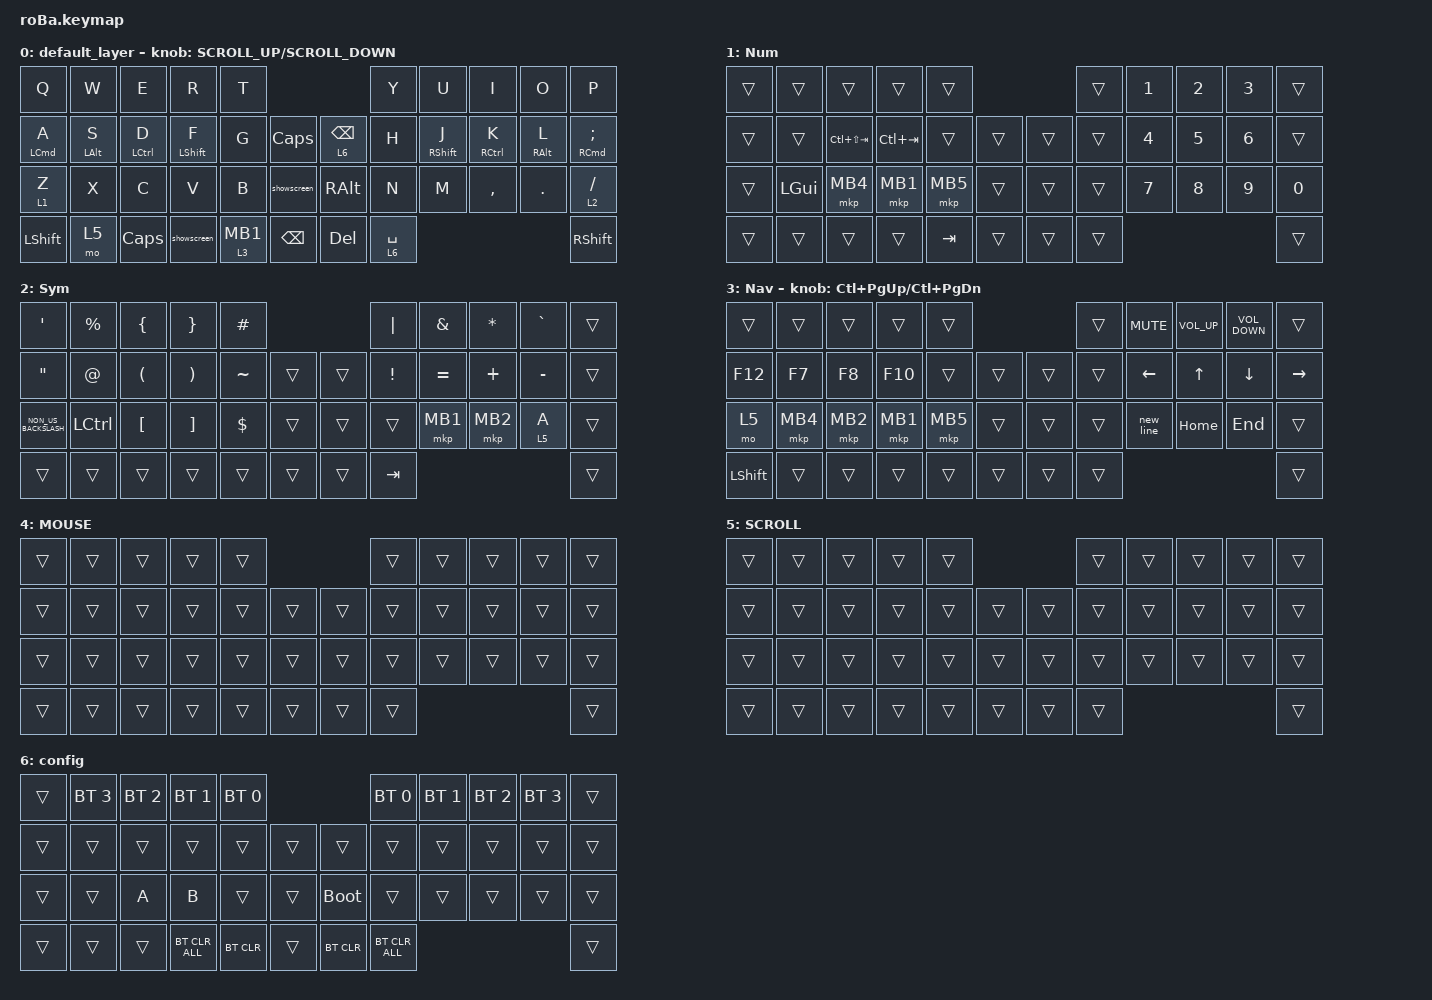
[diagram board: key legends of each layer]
#include <behaviors.dtsi>
#include <dt-bindings/zmk/bt.h>
#include <dt-bindings/zmk/keys.h>
#include <dt-bindings/zmk/pointing.h>

#define KEYS_L  0  1  2  3  4 10 11 12 13 14 15 22 23 24 25 26 27
#define KEYS_R  5  6  7  8  9 16 17 18 19 20 21 28 29 30 31 32 33
#define THUMBS 34 35 36 37 38 39 40 41

&mt {
    quick-tap-ms = <100>;
    global-quick-tap;
    flavor = "tap-preferred";
    tapping-term-ms = <170>;
};

&trackball {
    automouse-layer = <4>;
    scroll-layers = <5>;

    // arrows {
    //     layers = <3>;
    //     bindings =
    //         <&kp RIGHT_ARROW>,
    //         <&kp LEFT_ARROW>,
    //         <&kp UP_ARROW>,
    //         <&kp DOWN_ARROW>;
    //     tick = <10>;
    //     wait-ms = <5>;
    //     tap-ms = <5>;
    // };
};

/ {
    combos {
        compatible = "zmk,combos";

        middle_enter {
            bindings = <&kp ENTER>;
            key-positions = <18 19>;
        };

        muhennkann {
            bindings = <&kp TAB>;
            key-positions = <11 19 20>;
        };

        combo_esc {
            timeout-ms = <50>;
            key-positions = <6 7>;
            bindings = <&kp ESC>;
        };

        right_enter {
            timeout-ms = <100>;
            key-positions = <30 31>;
            bindings = <&kp ENTER>;
        };

        show_windows {
            bindings = <&kp LC(UP_ARROW)>;
            key-positions = <25 24>;
            layers = <0>;
        };

        lockscreen {
            bindings = <&kp LG(LC(Q))>;
            key-positions = <4 5>;
        };

        printscreen {
            bindings = <&kp LG(RS(N5))>;
            key-positions = <17 14>;
        };

        show_apps {
            bindings = <&kp LG(UP_ARROW)>;
            key-positions = <24 25>;
            layers = <6>;
        };
    };

    macros {
        to_layer_0: to_layer_0 {
            compatible = "zmk,behavior-macro-one-param";
            #binding-cells = <1>;
            bindings = <&to 0 &macro_param_1to1 &kp MACRO_PLACEHOLDER>;
            label = "TO_LAYER_0";
        };

        new_line: new_line {
            compatible = "zmk,behavior-macro";
            #binding-cells = <0>;
            bindings = <&kp LC(E) &kp ENTER>;
            label = "NEW_LINE";
        };
    };

    behaviors {
        lt_to_layer_0: lt_to_layer_0 {
            compatible = "zmk,behavior-hold-tap";
            label = "LAYER_TAP_TO_0";
            bindings = <&mo>, <&to_layer_0>;

            #binding-cells = <2>;
            tapping-term-ms = <200>;
        };

        showscreen: showscreen {
            compatible = "zmk,behavior-tap-dance";
            label = "SHOWSCREEN";
            #binding-cells = <0>;
            bindings = <&kp LC(UP_ARROW)>, <&kp LG(UP_ARROW)>;
        };

        td_bs: td_bs {
            compatible = "zmk,behavior-hold-tap";
            #binding-cells = <2>;
            flavor = "hold-preferred";
            tapping-term-ms = <200>;
            hold-while-undecided;
            bindings = <&mo>, <&mkp>;
        };

        td_esc_scrl_slow: td_esc_scrl_slow {
            compatible = "zmk,behavior-tap-dance";
            #binding-cells = <0>;
            tapping-term-ms = <150>;
            bindings = <&lt 7 ESC>, <&mo 6>;

            // hold, tap, double_tap
        };

        // Left-hand HRM

        ht_left: left_side_homerow_mod {
            compatible = "zmk,behavior-hold-tap";
            #binding-cells = <2>;
            flavor = "tap-preferred";
            tapping-term-ms = <200>;
            quick-tap-ms = <160>;
            require-prior-idle-ms = <150>;
            bindings = <&kp>, <&kp>;

            hold-trigger-key-positions = <KEYS_R THUMBS>;
            hold-trigger-on-release;
        };

        // Right-hand HRM

        ht_right: right_side_homerow_mod {
            compatible = "zmk,behavior-hold-tap";
            #binding-cells = <2>;
            flavor = "tap-preferred";
            tapping-term-ms = <200>;
            quick-tap-ms = <160>;
            require-prior-idle-ms = <150>;
            bindings = <&kp>, <&kp>;

            hold-trigger-key-positions = <KEYS_L THUMBS>;
            hold-trigger-on-release;
        };
    };

    keymap {
        compatible = "zmk,keymap";

        default_layer {
            bindings = <
&kp Q            &kp W                &kp E             &kp R             &kp T                                             &kp Y        &kp U              &kp I              &kp O             &kp P
&ht_left LCMD A  &ht_left LEFT_ALT S  &ht_left LCTRL D  &ht_left LSHFT F  &kp G         &kp CLCK           &lt 6 BACKSPACE  &kp H        &ht_right RSHFT J  &ht_right RCTRL K  &ht_right RALT L  &ht_right RCMD SEMICOLON
&lt 1 Z          &kp X                &kp C             &kp V             &kp B         &showscreen        &kp RIGHT_ALT    &kp N        &kp M              &kp COMMA          &kp DOT           &lt 2 SLASH
&kp LEFT_SHIFT   &mo 5                &kp CAPSLOCK      &showscreen       &td_bs 3 MB1  &kp BACKSPACE      &kp DELETE       &lt 6 SPACE                                                          &kp RIGHT_SHIFT
            >;

            sensor-bindings = <&inc_dec_kp K_SCROLL_UP K_SCROLL_DOWN>;
        };

        Num {
            bindings = <
&trans  &trans        &trans           &trans       &trans                        &trans  &kp NUMBER_1  &kp NUMBER_2  &kp NUMBER_3  &trans
&trans  &trans        &kp LC(LS(TAB))  &kp LC(TAB)  &trans    &trans      &trans  &trans  &kp NUMBER_4  &kp N5        &kp NUMBER_6  &trans
&trans  &kp LEFT_GUI  &mkp MB4         &mkp MB1     &mkp MB5  &trans      &trans  &trans  &kp N7        &kp N8        &kp N9        &kp N0
&trans  &trans        &trans           &trans       &kp TAB   &trans      &trans  &trans                                            &trans
            >;
        };

        Sym {
            bindings = <
&kp SQT               &kp PERCENT  &kp LEFT_BRACE        &kp RIGHT_BRACE        &kp HASH                        &kp PIPE         &kp AMPERSAND  &kp ASTERISK  &kp GRAVE  &trans
&kp DQT               &kp AT_SIGN  &kp LEFT_PARENTHESIS  &kp RIGHT_PARENTHESIS  &kp TILDE   &trans      &trans  &kp EXCLAMATION  &kp EQUAL      &kp PLUS      &kp MINUS  &trans
&kp NON_US_BACKSLASH  &kp LCTRL    &kp LEFT_BRACKET      &kp RIGHT_BRACKET      &kp DOLLAR  &trans      &trans  &trans           &mkp MB1       &mkp MB2      &lt 5 A    &trans
&trans                &trans       &trans                &trans                 &trans      &trans      &trans  &kp TAB                                                  &trans
            >;
        };

        Nav {
            bindings = <
&trans          &trans    &trans    &trans    &trans                        &trans  &kp K_MUTE  &kp C_VOLUME_UP  &kp C_VOLUME_DOWN  &trans
&kp F12         &kp F7    &kp F8    &kp F10   &trans    &trans      &trans  &trans  &kp LEFT    &kp UP_ARROW     &kp DOWN_ARROW     &kp RIGHT
&mo 5           &mkp MB4  &mkp MB2  &mkp MB1  &mkp MB5  &trans      &trans  &trans  &new_line   &kp HOME         &kp END            &trans
&kp LEFT_SHIFT  &trans    &trans    &trans    &trans    &trans      &trans  &trans                                                  &trans
            >;

            sensor-bindings = <&inc_dec_kp LC(PAGE_UP) LC(PAGE_DOWN)>;
        };

        MOUSE {
            bindings = <
&trans  &trans  &trans  &trans  &trans                      &trans  &trans  &trans  &trans  &trans
&trans  &trans  &trans  &trans  &trans  &trans      &trans  &trans  &trans  &trans  &trans  &trans
&trans  &trans  &trans  &trans  &trans  &trans      &trans  &trans  &trans  &trans  &trans  &trans
&trans  &trans  &trans  &trans  &trans  &trans      &trans  &trans                          &trans
            >;
        };

        SCROLL {
            bindings = <
&trans  &trans  &trans  &trans  &trans                      &trans  &trans  &trans  &trans  &trans
&trans  &trans  &trans  &trans  &trans  &trans      &trans  &trans  &trans  &trans  &trans  &trans
&trans  &trans  &trans  &trans  &trans  &trans      &trans  &trans  &trans  &trans  &trans  &trans
&trans  &trans  &trans  &trans  &trans  &trans      &trans  &trans                          &trans
            >;
        };

        config {
            bindings = <
&trans  &bt BT_SEL 3  &bt BT_SEL 2  &bt BT_SEL 1    &bt BT_SEL 0                           &bt BT_SEL 0    &bt BT_SEL 1  &bt BT_SEL 2  &bt BT_SEL 3  &trans
&trans  &trans        &trans        &trans          &trans        &trans      &trans       &trans          &trans        &trans        &trans        &trans
&trans  &trans        &kp A         &kp B           &trans        &trans      &bootloader  &trans          &trans        &trans        &trans        &trans
&trans  &trans        &trans        &bt BT_CLR_ALL  &bt BT_CLR    &trans      &bt BT_CLR   &bt BT_CLR_ALL                                            &trans
            >;
        };
    };
};
